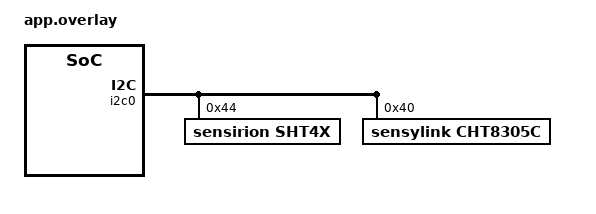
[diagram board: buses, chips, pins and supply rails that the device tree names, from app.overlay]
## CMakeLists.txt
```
# SPDX-License-Identifier: Apache-2.0

cmake_minimum_required(VERSION 3.20.0)

# Let Zephyr discover the custom board under this application's boards/ tree.
list(APPEND BOARD_ROOT ${CMAKE_CURRENT_SOURCE_DIR})

find_package(Zephyr REQUIRED HINTS $ENV{ZEPHYR_BASE})
project(jkcare)

zephyr_include_directories(include)

# Default SSRAM0 section and the dedicated Apollo4 Plus physical RAM banks.
zephyr_linker_sources(
    RAM_SECTIONS
    linker/jkcare-normal-ram.ld
)
zephyr_linker_sources(
    SECTIONS
    linker/jkcare-memory-regions.ld
)

target_sources(app PRIVATE
    src/main.c
    src/plugin_manager.c
)

add_subdirectory(drivers/sensor/cht8305c)
```

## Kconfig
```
# SPDX-License-Identifier: Apache-2.0

rsource "drivers/sensor/cht8305c/Kconfig"

source "Kconfig.zephyr"
```

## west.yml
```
# SPDX-License-Identifier: Apache-2.0

manifest:
  version: "1.2"

  remotes:
    - name: zephyrproject
      url-base: https://github.com/zephyrproject-rtos

  projects:
    - name: zephyr
      remote: zephyrproject
      revision: v4.4.0
      path: zephyr-4.4.0
      import: true

  self:
    path: .
```

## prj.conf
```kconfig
# Core application facilities
CONFIG_GPIO=y
CONFIG_I2C=y
CONFIG_SENSOR=y
CONFIG_SHT4X=y
CONFIG_CHT8305C=y
CONFIG_LOG=y
CONFIG_LOG_DEFAULT_LEVEL=3
CONFIG_LOG_BACKEND_UART=y

# LLEXT plugins are discovered under /llext/business on an already mounted
# filesystem, then copied and relocated into the LLEXT RAM heap.
CONFIG_LLEXT=y
CONFIG_LLEXT_HEAP_SIZE=64
CONFIG_LLEXT_TYPE_ELF_RELOCATABLE=y
CONFIG_THREAD_NAME=y
CONFIG_FILE_SYSTEM=y
```

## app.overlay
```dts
/*
 * jkcare application devicetree overlay.
 *
 * UART0 and I2C0 are board-level hardware and are defined in
 * boards/ambiq/jkcare_apollo4p_blue/jkcare_apollo4p_blue.dts.
 * Add application-specific peripherals here later.
 */

&i2c0 {
    status = "okay";

    sht4x: sht4x@44 {
        compatible = "sensirion,sht4x";
        reg = <0x44>;
        repeatability = <2>;
        status = "okay";
    };

	/*
	 * Example out-of-tree sensor driver. CHT8305C defaults to 0x40 when
	 * AD0 is connected to GND or left floating.
	 */
	cht8305c: humidity-sensor@40 {
		compatible = "sensylink,cht8305c";
		reg = <0x40>;
		status = "okay";
	};
};
```

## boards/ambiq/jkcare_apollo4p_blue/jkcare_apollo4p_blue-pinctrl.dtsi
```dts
/*
 * SPDX-License-Identifier: Apache-2.0
 *
 * Initial pin assignment copied from the Apollo4 Blue Plus KXR EVB.
 * Replace these pins with the connections from the JKCare schematic.
 */

#include <zephyr/dt-bindings/pinctrl/ambiq-apollo4-pinctrl.h>

&pinctrl {
	uart0_default: uart0_default {
		group1 {
			/* UART0 TX: GPIO 12 */
			pinmux = <UART0TX_P12>;
		};

		group2 {
			/* UART0 RX: GPIO 47 */
			pinmux = <UART0RX_P47>;
			input-enable;
		};
	};

	i2c0_default: i2c0_default {
		group1 {
			/* IOM0 I2C SCL: GPIO 5, SDA: GPIO 6 */
			pinmux = <M0SCL_P5>, <M0SDAWIR3_P6>;
			drive-open-drain;
			drive-strength = "0.5";
			bias-pull-up;
		};
	};

	/* Required Apollo4 Plus Blue clock pins; verify against the schematic. */
	xo32m_default: xo32m_default {
		group1 {
			pinmux = <CLKOUT_32M_P46>;
			drive-strength = "0.1";
		};
	};

	xo32k_default: xo32k_default {
		group1 {
			pinmux = <XT32KHZ_P4>;
			drive-strength = "0.1";
		};
	};
};
```

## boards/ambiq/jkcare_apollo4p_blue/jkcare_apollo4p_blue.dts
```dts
/*
 * SPDX-License-Identifier: Apache-2.0
 */

/dts-v1/;
#include <ambiq/ambiq_apollo4p_blue.dtsi>
#include "jkcare_apollo4p_blue-pinctrl.dtsi"

/ {
	model = "JKCare Apollo4 Plus Blue board";
	compatible = "jkcare,apollo4p-blue";

	chosen {
		zephyr,itcm = &tcm;
		/* Keep normal kernel/application data in the 1 MiB SSRAM0 bank. */
		zephyr,sram = &normal_sram;
		zephyr,flash = &flash0;
		zephyr,flash-controller = &flash;
		zephyr,console = &uart0;
		zephyr,shell-uart = &uart0;
	};

	/*
	 * Apollo4 Plus RAM layout after the 64 KiB ITCM region:
	 *
	 *   0x10010000 - 0x1005ffff  CPU TCM / low-latency data RAM (320 KiB)
	 *   0x10060000 - 0x1015ffff  SSRAM0 / normal system RAM       (1 MiB)
	 *   0x10160000 - 0x101bffff  Extended SRAM                    (384 KiB)
	 *   0x101c0000 - 0x102bffff  SSRAM1                           (1 MiB)
	 *
	 * The upstream SoC DTS exposes the whole range as one sram0 node.  This
	 * board splits it into non-overlapping linker regions so objects placed in
	 * a custom section cannot silently overlap the default Zephyr RAM image.
	 */
	fast_ram: fast-memory@10010000 {
		compatible = "zephyr,memory-region", "mmio-sram";
		reg = <0x10010000 0x00050000>;
		zephyr,memory-region = "FAST_RAM";
	};

	normal_sram: memory@10060000 {
		compatible = "mmio-sram";
		reg = <0x10060000 0x00100000>;
	};

	extended_ram: memory@10160000 {
		compatible = "zephyr,memory-region", "mmio-sram";
		reg = <0x10160000 0x00060000>;
		zephyr,memory-region = "EXTENDED_RAM";
	};

	ssram1: memory@101c0000 {
		compatible = "zephyr,memory-region", "mmio-sram";
		reg = <0x101c0000 0x00100000>;
		zephyr,memory-region = "SSRAM1";
	};
};

/* The combined upstream node is replaced by the non-overlapping nodes above. */
&sram0 {
	status = "disabled";
};

/* UART0 is the console and logging output. */
&uart0 {
	current-speed = <115200>;
	pinctrl-0 = <&uart0_default>;
	pinctrl-names = "default";
	status = "okay";
};

/* Apollo4 IOM0 is configured in I2C mode as i2c0. */
&iom0 {
	i2c0: i2c {
		pinctrl-0 = <&i2c0_default>;
		pinctrl-names = "default";
		clock-frequency = <I2C_BITRATE_STANDARD>;
		scl-gpios = <&gpio0_31 5 (GPIO_OPEN_DRAIN | GPIO_PULL_UP)>;
		sda-gpios = <&gpio0_31 6 (GPIO_OPEN_DRAIN | GPIO_PULL_UP)>;
		status = "okay";
	};
};

&gpio0_31 {
	status = "okay";
};

&gpio32_63 {
	status = "okay";
};

/* Required system timer clock source for the Zephyr kernel tick. */
&stimer0 {
	clk-source = <3>;
};

&xo32m {
	pinctrl-0 = <&xo32m_default>;
	pinctrl-names = "default";
	status = "okay";
};

&xo32k {
	pinctrl-0 = <&xo32k_default>;
	pinctrl-names = "default";
	status = "okay";
};
```

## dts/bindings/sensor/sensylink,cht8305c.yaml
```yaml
# SPDX-License-Identifier: Apache-2.0

description: |
  Sensylink CHT8305C digital humidity and temperature sensor.

  The sensor uses I2C and supports four addresses selected by the AD0 pin:
  0x40 (GND or floating), 0x44 (VCC), 0x48 (SDA), and 0x4c (SCL).

compatible: "sensylink,cht8305c"

include: [sensor-device.yaml, i2c-device.yaml]

properties:
  reg:
    enum:
      - 0x40
      - 0x44
      - 0x48
      - 0x4c
```

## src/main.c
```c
/*
 * SPDX-License-Identifier: Apache-2.0
 */

#include <zephyr/device.h>
#include <zephyr/drivers/gpio.h>
#include <zephyr/drivers/i2c.h>
#include <zephyr/drivers/sensor.h>
#include <zephyr/kernel.h>
#include <zephyr/logging/log.h>

#include "jkcare_plugin_manager.h"

LOG_MODULE_REGISTER(jkcare, LOG_LEVEL_INF);

#define USER_NODE DT_PATH(zephyr_user)

#if !DT_NODE_HAS_STATUS(DT_NODELABEL(i2c0), okay)
#error "The selected board does not define an enabled i2c0 node"
#endif

#if !DT_NODE_HAS_STATUS(DT_NODELABEL(sht4x), okay)
#error "app.overlay does not define an enabled sht4x node"
#endif

#if !DT_NODE_HAS_STATUS(DT_NODELABEL(cht8305c), okay)
#error "app.overlay does not define an enabled cht8305c node"
#endif

#if !DT_NODE_EXISTS(USER_NODE)
#error "app.overlay does not define /zephyr,user"
#endif

static const struct device *const i2c0 = DEVICE_DT_GET(DT_NODELABEL(i2c0));
static const struct device *const sht4x = DEVICE_DT_GET(DT_NODELABEL(sht4x));
static const struct device *const cht8305c = DEVICE_DT_GET(DT_NODELABEL(cht8305c));
static const struct gpio_dt_spec led = GPIO_DT_SPEC_GET(USER_NODE, led_gpios);
static const struct gpio_dt_spec touch = GPIO_DT_SPEC_GET(USER_NODE, touch_gpios);
static struct gpio_callback touch_callback;

static void touch_work_handler(struct k_work *work)
{
	ARG_UNUSED(work);

	int ret = gpio_pin_toggle_dt(&led);

	if (ret < 0) {
		LOG_ERR("Failed to toggle LED: %d", ret);
		return;
	}

	LOG_INF("Touch rising edge, LED=%d", gpio_pin_get_dt(&led));
}

K_WORK_DEFINE(touch_work, touch_work_handler);

static void touch_interrupt_handler(const struct device *port,
				    struct gpio_callback *callback,
				    gpio_port_pins_t pins)
{
	ARG_UNUSED(port);
	ARG_UNUSED(callback);
	ARG_UNUSED(pins);

	/* Keep the ISR short; GPIO access and logging run on the system workqueue. */
	k_work_submit(&touch_work);
}

static int gpio_init(void)
{
	int ret;

	if (!gpio_is_ready_dt(&led)) {
		LOG_ERR("LED GPIO controller is not ready");
		return -ENODEV;
	}

	if (!gpio_is_ready_dt(&touch)) {
		LOG_ERR("Touch GPIO controller is not ready");
		return -ENODEV;
	}

	ret = gpio_pin_configure_dt(&led, GPIO_OUTPUT_INACTIVE);
	if (ret < 0) {
		LOG_ERR("Failed to configure LED GPIO: %d", ret);
		return ret;
	}

	ret = gpio_pin_configure_dt(&touch, GPIO_INPUT);
	if (ret < 0) {
		LOG_ERR("Failed to configure touch GPIO: %d", ret);
		return ret;
	}

	gpio_init_callback(&touch_callback, touch_interrupt_handler, BIT(touch.pin));

	ret = gpio_add_callback(touch.port, &touch_callback);
	if (ret < 0) {
		LOG_ERR("Failed to add touch callback: %d", ret);
		return ret;
	}

	ret = gpio_pin_interrupt_configure_dt(&touch, GPIO_INT_EDGE_RISING);
	if (ret < 0) {
		LOG_ERR("Failed to enable touch rising-edge interrupt: %d", ret);
		gpio_remove_callback(touch.port, &touch_callback);
		return ret;
	}

	LOG_INF("LED GPIO%u and touch GPIO%u are ready", led.pin, touch.pin);
	return 0;
}

static void log_milli_value(const char *name, int64_t milli, const char *unit)
{
	bool negative = milli < 0;
	uint32_t magnitude = (uint32_t)(negative ? -milli : milli);

	LOG_INF("%s: %s%u.%03u %s", name, negative ? "-" : "",
		magnitude / 1000U, magnitude % 1000U, unit);
}

int main(void)
{
	if (gpio_init() < 0) {
		return 0;
	}

	if (!device_is_ready(i2c0)) {
		LOG_ERR("I2C0 is not ready");
		return 0;
	}

	if (!device_is_ready(sht4x)) {
		LOG_ERR("SHT4x is not ready");
		return 0;
	}

    if (!device_is_ready(cht8305c)) {
        LOG_ERR("CHT8305C is not ready");
    }

	LOG_INF("jkcare started on %s", CONFIG_BOARD_TARGET);
	LOG_INF("UART0 console is running at 115200 baud");
	LOG_INF("I2C0 is ready");
	LOG_INF("SHT4x is ready");

	/*
	 * The filesystem must already be mounted at /llext. Discover every
	 * plugin file below /llext/business, load its ELF into the LLEXT RAM heap,
	 * resolve the common jkcare_plugin symbol, then call init() and start().
	 * PPG and ECG start their own managed business threads, so main does not
	 * call a process() function for them.
	 */
	int plugin_ret = jkcare_plugin_manager_load_all();
	if (plugin_ret < 0) {
		LOG_ERR("One or more dynamic plugins failed to start: %d", plugin_ret);
	}
    
	while (true) {
		struct sensor_value temperature;
		struct sensor_value humidity;
		int ret;

		ret = sensor_sample_fetch(sht4x);
		if (ret < 0) {
			LOG_ERR("Failed to fetch SHT4x sample: %d", ret);
			k_sleep(K_SECONDS(5));
			continue;
		}

		ret = sensor_channel_get(sht4x, SENSOR_CHAN_AMBIENT_TEMP,
					 &temperature);
		if (ret < 0) {
			LOG_ERR("Failed to read temperature: %d", ret);
			k_sleep(K_SECONDS(5));
			continue;
		}

		ret = sensor_channel_get(sht4x, SENSOR_CHAN_HUMIDITY, &humidity);
		if (ret < 0) {
			LOG_ERR("Failed to read humidity: %d", ret);
			k_sleep(K_SECONDS(5));
			continue;
		}

		log_milli_value("Temperature", sensor_value_to_milli(&temperature), "C");
		log_milli_value("Humidity", sensor_value_to_milli(&humidity), "%RH");

        ret = sensor_sample_fetch(cht8305c);
        if (ret < 0) {
            LOG_ERR("CHT8305C sample fetch failed: %d", ret);
            continue;
        }
        
        ret = sensor_channel_get(
            cht8305c,
            SENSOR_CHAN_AMBIENT_TEMP,
            &temperature
        );
        
        ret = sensor_channel_get(
            cht8305c,
            SENSOR_CHAN_HUMIDITY,
            &humidity
        );
		
        log_milli_value("Temperature", sensor_value_to_milli(&temperature), "C");
		log_milli_value("Humidity", sensor_value_to_milli(&humidity), "%RH");

		k_sleep(K_SECONDS(5));
	}
}
```

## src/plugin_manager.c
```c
/* SPDX-License-Identifier: Apache-2.0 */

#include <errno.h>
#include <stdbool.h>
#include <stddef.h>
#include <stdint.h>
#include <string.h>

#include <zephyr/fs/fs.h>
#include <zephyr/kernel.h>
#include <zephyr/llext/fs_loader.h>
#include <zephyr/llext/llext.h>
#include <zephyr/logging/log.h>
#include <zephyr/sys/printk.h>
#include <zephyr/sys/util.h>

#include "jkcare_plugin.h"
#include "jkcare_plugin_manager.h"

LOG_MODULE_REGISTER(jkcare_plugin_manager, LOG_LEVEL_INF);

#define PLUGIN_DIRECTORY         "/llext/business"
#define PLUGIN_FILE_SUFFIX       ".llext"
#define PLUGIN_PATH_MAX          192
#define MAX_PLUGINS              8
#define MAX_PLUGIN_THREADS       8
#define PLUGIN_THREAD_STACK_SIZE 2048

struct loaded_plugin {
	struct llext *extension;
	const struct jkcare_plugin_api *api;
	bool started;
};

struct jkcare_plugin_thread {
	struct k_thread thread;
	jkcare_plugin_thread_entry_t entry;
	void *context;
	bool allocated;
};

K_THREAD_STACK_ARRAY_DEFINE(plugin_thread_stacks, MAX_PLUGIN_THREADS,
			    PLUGIN_THREAD_STACK_SIZE);

static struct jkcare_plugin_thread plugin_threads[MAX_PLUGIN_THREADS];
static struct loaded_plugin loaded_plugins[MAX_PLUGINS];
static size_t loaded_plugin_count;

static void host_print(const char *plugin_name, const char *message)
{
	LOG_INF("[%s] %s", plugin_name, message);
}

static void host_sleep_ms(uint32_t milliseconds)
{
	k_sleep(K_MSEC(milliseconds));
}

static void plugin_thread_trampoline(void *thread_arg, void *unused1,
				     void *unused2)
{
	struct jkcare_plugin_thread *thread = thread_arg;

	ARG_UNUSED(unused1);
	ARG_UNUSED(unused2);
	thread->entry(thread->context);
}

static int host_thread_create(struct jkcare_plugin_thread **thread,
			      const char *name,
			      jkcare_plugin_thread_entry_t entry,
			      void *context, size_t stack_size,
			      int priority)
{
	if (thread == NULL || entry == NULL || stack_size > PLUGIN_THREAD_STACK_SIZE) {
		return -EINVAL;
	}

	for (size_t i = 0; i < ARRAY_SIZE(plugin_threads); i++) {
		struct jkcare_plugin_thread *slot = &plugin_threads[i];

		if (slot->allocated) {
			continue;
		}

		slot->allocated = true;
		slot->entry = entry;
		slot->context = context;
		k_tid_t tid = k_thread_create(&slot->thread,
					      plugin_thread_stacks[i],
					      K_THREAD_STACK_SIZEOF(plugin_thread_stacks[i]),
					      plugin_thread_trampoline,
					      slot, NULL, NULL,
					      priority, 0, K_NO_WAIT);
		if (tid == NULL) {
			slot->allocated = false;
			slot->entry = NULL;
			slot->context = NULL;
			return -EIO;
		}

		(void)k_thread_name_set(tid, name);
		*thread = slot;
		return 0;
	}

	return -ENOMEM;
}

static int host_thread_join(struct jkcare_plugin_thread *thread,
			    uint32_t timeout_ms)
{
	int ret;

	if (thread == NULL || !thread->allocated) {
		return -EINVAL;
	}

	ret = k_thread_join(&thread->thread, K_MSEC(timeout_ms));
	if (ret == 0) {
		thread->allocated = false;
		thread->entry = NULL;
		thread->context = NULL;
	}

	return ret;
}

static const struct jkcare_host_api host_api = {
	.abi_version = JKCARE_HOST_ABI_VERSION,
	.struct_size = sizeof(struct jkcare_host_api),
	.print = host_print,
	.sleep_ms = host_sleep_ms,
	.thread_create = host_thread_create,
	.thread_join = host_thread_join,
};

static bool is_plugin_file(const struct fs_dirent *entry)
{
	size_t name_length;
	size_t suffix_length = strlen(PLUGIN_FILE_SUFFIX);

	if (entry->type != FS_DIR_ENTRY_FILE) {
		return false;
	}

	name_length = strlen(entry->name);
	return name_length > suffix_length &&
	       strcmp(entry->name + name_length - suffix_length,
		      PLUGIN_FILE_SUFFIX) == 0;
}

static int plugin_name_from_filename(const char *filename, char *name,
				     size_t name_size)
{
	size_t filename_length = strlen(filename);
	size_t suffix_length = strlen(PLUGIN_FILE_SUFFIX);
	size_t name_length;

	if (filename_length <= suffix_length || name_size == 0) {
		return -EINVAL;
	}

	name_length = filename_length - suffix_length;
	if (name_length >= name_size) {
		return -ENAMETOOLONG;
	}

	memcpy(name, filename, name_length);
	name[name_length] = '\0';
	return 0;
}

static int load_and_start_plugin(const char *path, const char *filename)
{
	struct llext_fs_loader fs_loader = LLEXT_FS_LOADER(path);
	struct llext_load_param load_param = LLEXT_LOAD_PARAM_DEFAULT;
	struct loaded_plugin *plugin;
	char plugin_name[LLEXT_MAX_NAME_LEN + 1];
	int ret;

	if (loaded_plugin_count >= ARRAY_SIZE(loaded_plugins)) {
		return -ENOMEM;
	}

	plugin = &loaded_plugins[loaded_plugin_count];

	ret = plugin_name_from_filename(filename, plugin_name,
					sizeof(plugin_name));
	if (ret < 0) {
		LOG_ERR("Invalid plugin filename %s: %d", filename, ret);
		return ret;
	}

	ret = llext_load(&fs_loader.loader, plugin_name,
			 &plugin->extension, &load_param);
	if (ret < 0) {
		LOG_ERR("Failed to load plugin %s: %d", path, ret);
		return ret;
	}

	plugin->api = llext_find_sym(&plugin->extension->exp_tab,
				     "jkcare_plugin");
	if (plugin->api == NULL) {
		LOG_ERR("Plugin %s does not export jkcare_plugin", path);
		(void)llext_unload(&plugin->extension);
		return -ENOENT;
	}

	if (plugin->api->abi_version != JKCARE_PLUGIN_ABI_VERSION ||
	    plugin->api->struct_size != sizeof(struct jkcare_plugin_api)) {
		LOG_ERR("Plugin %s has an incompatible ABI", path);
		(void)llext_unload(&plugin->extension);
		return -EPROTO;
	}

	ret = plugin->api->init(&host_api);
	if (ret < 0) {
		LOG_ERR("Plugin %s init failed: %d", path, ret);
		(void)llext_unload(&plugin->extension);
		return ret;
	}

	ret = plugin->api->start();
	if (ret < 0) {
		LOG_ERR("Plugin %s start failed: %d", path, ret);
		plugin->api->deinit();
		(void)llext_unload(&plugin->extension);
		return ret;
	}

	plugin->started = true;
	loaded_plugin_count++;
	LOG_INF("Loaded and started plugin: %s", plugin->api->name);
	return 0;
}

int jkcare_plugin_manager_load_all(void)
{
	struct fs_dir_t directory;
	struct fs_dirent entry;
	char path[PLUGIN_PATH_MAX];
	int first_error = 0;
	int ret;

	fs_dir_t_init(&directory);
	ret = fs_opendir(&directory, PLUGIN_DIRECTORY);
	if (ret < 0) {
		LOG_ERR("Cannot open plugin directory %s: %d; mount the filesystem first",
			PLUGIN_DIRECTORY, ret);
		return ret;
	}

	LOG_INF("Scanning plugin directory: %s", PLUGIN_DIRECTORY);

	while (true) {
		ret = fs_readdir(&directory, &entry);
		if (ret < 0) {
			LOG_ERR("Failed to read plugin directory: %d", ret);
			if (first_error == 0) {
				first_error = ret;
			}
			break;
		}

		if (entry.name[0] == '\0') {
			break;
		}

		if (!is_plugin_file(&entry)) {
			continue;
		}

		ret = snprintk(path, sizeof(path), "%s/%s",
			       PLUGIN_DIRECTORY, entry.name);
		if (ret < 0 || ret >= sizeof(path)) {
			LOG_ERR("Plugin path is too long: %s", entry.name);
			if (first_error == 0) {
				first_error = -ENAMETOOLONG;
			}
			continue;
		}

		ret = load_and_start_plugin(path, entry.name);

		if (ret < 0 && first_error == 0) {
			first_error = ret;
		}
	}

	(void)fs_closedir(&directory);
	LOG_INF("Started %u plugin(s) from %s",
		(unsigned int)loaded_plugin_count, PLUGIN_DIRECTORY);
	return first_error;
}

int jkcare_plugin_manager_stop_all(void)
{
	int first_error = 0;

	/* Stop in reverse load order. Never unload an extension with a live thread. */
	while (loaded_plugin_count > 0) {
		struct loaded_plugin *plugin =
			&loaded_plugins[loaded_plugin_count - 1];
		int ret = 0;

		if (plugin->started) {
			ret = plugin->api->stop();
			if (ret < 0) {
				LOG_ERR("Plugin %s did not stop: %d",
					plugin->api->name, ret);
				if (first_error == 0) {
					first_error = ret;
				}

				/* Keep it loaded because its thread may still execute its code. */
				break;
			}
			plugin->started = false;
		}

		plugin->api->deinit();
		ret = llext_unload(&plugin->extension);
		if (ret < 0 && first_error == 0) {
			first_error = ret;
		}

		plugin->api = NULL;
		loaded_plugin_count--;
	}

	return first_error;
}
```
